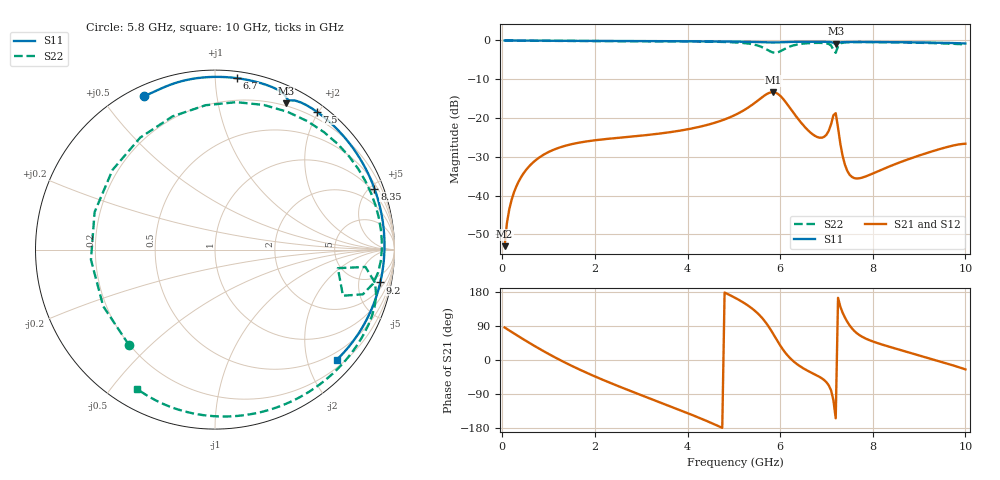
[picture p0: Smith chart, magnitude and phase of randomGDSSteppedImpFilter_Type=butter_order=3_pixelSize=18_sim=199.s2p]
! freq	dB(S11)	phase(S11)	dB(S12)	phase(S12)
!  dB(S21)	phase(S21)	dB(S22)	phase(S22)
!S-par simulation data
#  GHz  S  DB  R 50
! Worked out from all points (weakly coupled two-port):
!   200 points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, 50 MHz to 10 GHz, reference 50 ohm
!   highest |S21| = -13.33 dB at 5.85 GHz (marker M1); lowest = -53.1 dB at 50 MHz (marker M2)
!   lowest |S11| = -0.9 dB at 7.2 GHz (marker M3), VSWR 20.07, Z = 8.79 + j79.2 ohm
!   |S11| at or under -10 dB: nowhere
!   |S22| runs from -3.2 to 0.0 dB; largest |S21 - S12| = 0
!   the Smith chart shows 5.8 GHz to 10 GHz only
!   S11 on the Smith chart (normalised r, x): 5.8 GHz: 0.04, +0.64; 6.7 GHz: 0.04, +1.14; 7.5 GHz: 0.11, +1.98; 8.35 GHz: 0.75, +5.31; 9.2 GHz: 2.99, -9.21; 10 GHz: 0.34, -2.56
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0.05  -0.00 -2.9  -53.05 85.8  -53.05 85.8  -0.00 -5.0
0.3  -0.02 -17.2  -37.73 66.4  -37.73 66.4  -0.04 -29.4
0.85  -0.07 -47.7  -29.77 26.2  -29.77 26.2  -0.10 -79.9
1.75  -0.12 -93.1  -26.17 -29.8  -26.17 -29.8  -0.15 -148.6
2.5  -0.15 -125.8  -25.12 -68.8  -25.12 -68.8  -0.17 163.9
3.4  -0.18 -160.7  -24.01 -111.5  -24.01 -111.5  -0.21 111.7
4.25  -0.23 168.8  -22.30 -152.5  -22.30 -152.5  -0.28 62.2
5.05  -0.30 140.7  -19.08 162.6  -19.08 162.6  -0.52 6.6
5.45  -0.38 126.6  -16.12 130.3  -16.12 130.3  -1.10 -39.4
5.65  -0.46 119.7  -14.30 105.2  -14.30 105.2  -1.95 -81.2
5.8  -0.52 114.9  -13.38 79.0  -13.38 79.0  -2.90 -132.0
5.85  -0.52 113.3  -13.33 68.9  -13.33 68.9  -3.12 -153.2
5.95  -0.50 110.2  -13.76 48.4  -13.76 48.4  -3.07 162.7
6.15  -0.41 103.3  -16.39 13.5  -16.39 13.5  -1.87 93.7
6.4  -0.34 94.0  -20.43 -14.1  -20.43 -14.1  -0.98 47.1
6.7  -0.33 82.7  -24.19 -35.0  -24.19 -35.0  -0.65 15.5
7.1  -0.44 66.3  -21.59 -80.4  -21.59 -80.4  -1.30 -16.8
7.2  -0.87 64.1  -18.76 -153.9  -18.76 -153.9  -3.19 -8.6
7.5  -0.40 53.6  -34.64 91.3  -34.64 91.3  -0.43 -25.9
8.35  -0.44 20.9  -32.54 35.2  -32.54 35.2  -0.47 -61.7
9.2  -0.55 -11.2  -28.91 5.2  -28.91 5.2  -0.65 -90.9
10  -0.77 -42.0  -26.64 -24.7  -26.64 -24.7  -1.02 -119.2
